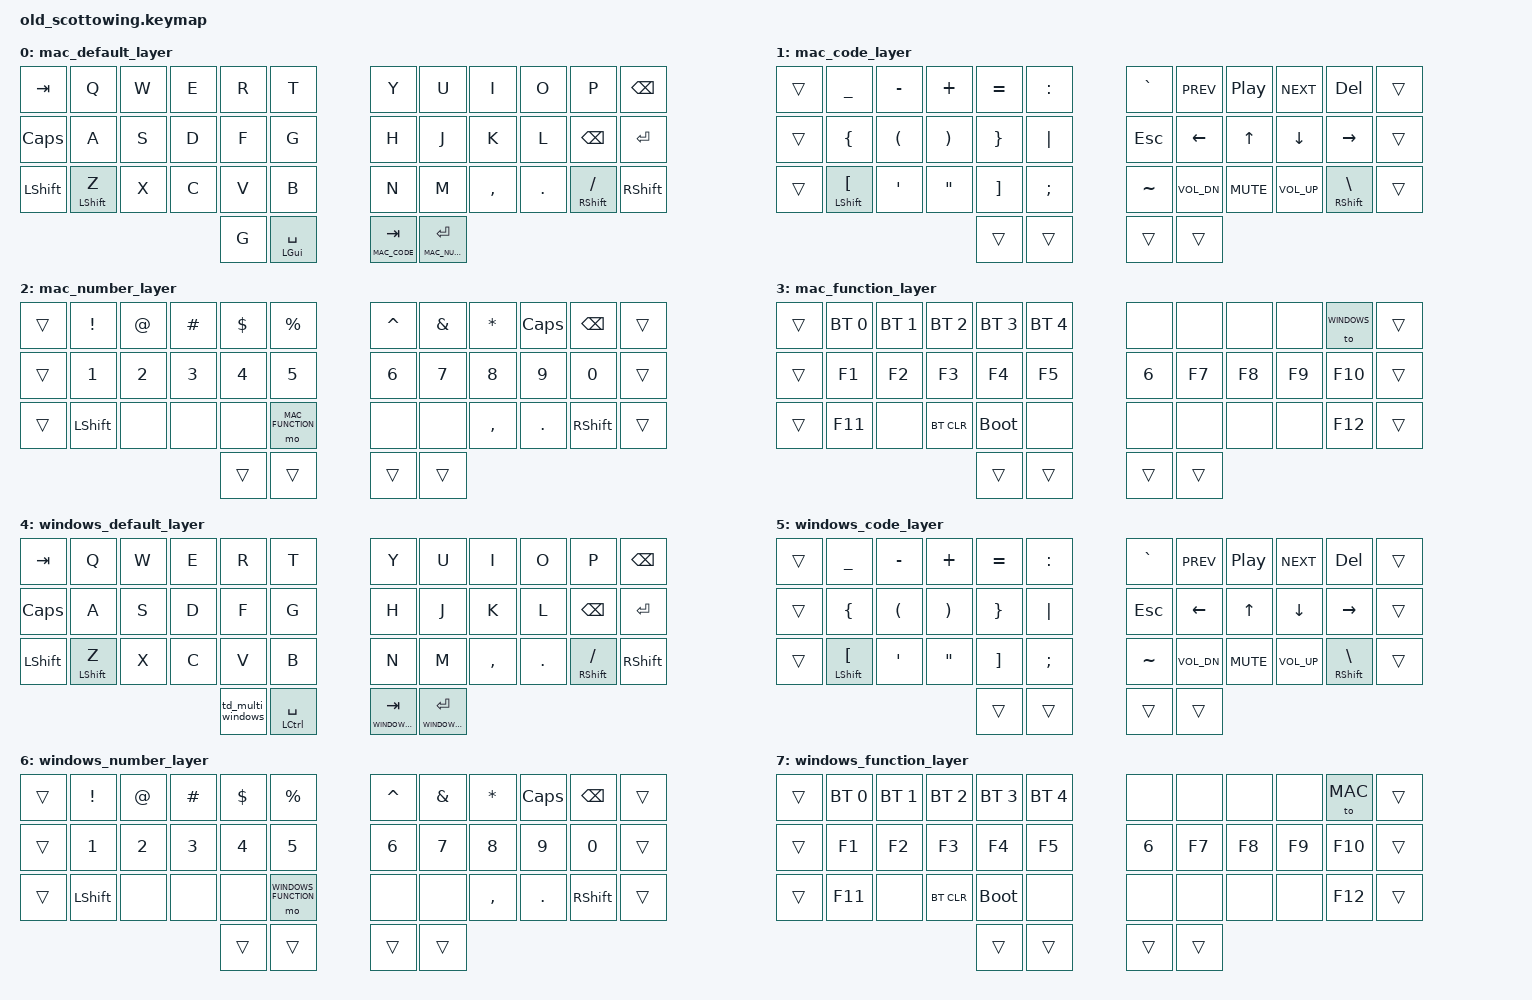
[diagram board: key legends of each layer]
#include <behaviors.dtsi>
#include <dt-bindings/zmk/keys.h>
#include <dt-bindings/zmk/bt.h>

#define MAC 0
#define MAC_CODE 1
#define MAC_NUMBER 2
#define MAC_FUNCTION 3
#define WINDOWS 4
#define WINDOWS_CODE 5
#define WINDOWS_NUMBER 6
#define WINDOWS_FUNCTION 7

    // Behavior Overrides
    &lt {
        tapping-term-ms = <200>;
        flavor = "hold-preferred";
    };

/ {
    //combos {
      //  compatible = "zmk,combos";
        
        //combo_tab {
        //  timeout-ms = <20>;
        //  key-positions = <1 2>;
        //  bindings = <&kp TAB>;
        //};

      //  combo_enter {
        //    timeout-ms = <20>;
          //  key-positions = <13 14>;
            //bindings = <&kp ENTER>;
        //};
    //};

    macros {
        spotlight: spotlight {
            label = "spotlight";
            compatible = "zmk,behavior-macro";
            #binding-cells = <0>;
            bindings = <&macro_press &kp LGUI>, <&macro_tap &kp SPACE>, <&macro_release &kp LGUI>; 
        };

        // Emoji
        mac_emoji: mac_emoji {
            label = "mac_emoji";
            compatible = "zmk,behavior-macro";
            #binding-cells = <0>;
            bindings = <&macro_press &kp LGUI>, <&macro_press &kp LCTRL>, <&macro_tap &kp SPACE>, <&macro_release &kp LCTRL>, <&macro_release &kp LGUI>; 
        };

        windows_emoji: windows_emoji {
            label = "windows_emoji";
            compatible = "zmk,behavior-macro";
            #binding-cells = <0>;
            bindings = <&macro_press &kp LGUI>, <&macro_tap &kp DOT>, <&macro_release &kp LGUI>; 
        };
    };

    behaviors {
        bm: bottom_row_mods {
            compatible = "zmk,behavior-hold-tap";
            label = "BOTTOM_ROW_MODS";
            #binding-cells = <2>;
            tapping-term-ms = <135>;
            quick-tap-ms = <0>;
            flavor = "tap-preferred";
            bindings = <&kp>, <&kp>;
        };

        cm: code_row_mods {
            compatible = "zmk,behavior-hold-tap";
            label = "CODE_ROW_MODS";
            #binding-cells = <2>;
            tapping-term-ms = <200>;
            quick-tap-ms = <0>;
            flavor = "tap-preferred";
            bindings = <&kp>, <&kp>;
            retro-tap;
        };

        sm: space_mod {
            compatible = "zmk,behavior-hold-tap";
            label = "SPACE_MOD";
            #binding-cells = <2>;
            flavor = "balanced";
            tapping-term-ms = <200>;
            quick-tap-ms = <125>;
            bindings = <&kp>, <&kp>;
        };

        td_multi_mac: tap_dance_multi_mac {
            compatible = "zmk,behavior-tap-dance";
            label = "TAP_DANCE_MULTI_MAC";
            #binding-cells = <0>;
            tapping-term-ms = <200>;
            bindings = <&sm ESC LALT>, <&spotlight>, <&kp LCTRL>, <&mac_emoji>;
        };

        td_multi_windows: tap_dance_multi_windows {
            compatible = "zmk,behavior-tap-dance";
            label = "TAP_DANCE_MULTI_WINDOWS";
            #binding-cells = <0>;
            tapping-term-ms = <200>;
            bindings = <&sm ESC LALT>, <&kp LGUI>, <&windows_emoji>;
        };
    };
    
    keymap {
        compatible = "zmk,keymap";

        mac_default_layer {
            bindings = <
                &kp TAB   &kp Q       &kp W &kp E &kp R         &kp T          &kp Y            &kp U             &kp I     &kp O   &kp P          &kp BSPC
                &kp CAPS  &kp A       &kp S &kp D &kp F         &kp G          &kp H            &kp J             &kp K     &kp L   &kp BSPC       &kp ENTER
                &kp LSHFT &bm LSHFT Z &kp X &kp C &kp V         &kp B          &kp N            &kp M             &kp COMMA &kp DOT &bm RSHFT FSLH &kp RSHFT
                                                  &kp G &sm LGUI SPACE &lt MAC_CODE TAB &lt MAC_NUMBER ENTER
            >;
        };

        mac_code_layer {
            bindings = <
                &trans &kp UNDER      &kp MINUS &kp PLUS &kp EQUAL &kp COLON &kp GRAVE &kp C_PREV   &kp C_PP   &kp C_NEXT   &kp DEL        &trans
                &trans &kp LBRC       &kp LPAR  &kp RPAR &kp RBRC  &kp PIPE  &kp ESC   &kp LEFT     &kp UP     &kp DOWN     &kp RIGHT      &trans
                &trans &cm LSHFT LBKT &kp APOS  &kp DQT  &kp RBKT  &kp SEMI  &kp TILDE &kp C_VOL_DN &kp C_MUTE &kp C_VOL_UP &cm RSHFT BSLH &trans
                                                         &trans    &trans    &trans    &trans
            >;
        };

        mac_number_layer {
            bindings = < 
                &trans &kp EXCL  &kp AT &kp HASH &kp DLLR &kp PRCNT        &kp CARET &kp AMPS &kp ASTERISK &kp CAPS &kp BSPC  &trans
                &trans &kp N1    &kp N2 &kp N3   &kp N4   &kp N5           &kp N6    &kp N7   &kp N8       &kp N9   &kp N0    &trans
                &trans &kp LSHFT &none  &none    &none    &mo MAC_FUNCTION &none     &none    &kp COMMA    &kp DOT  &kp RSHFT &trans
                                                 &trans   &trans           &trans    &trans
            >;
        };

        mac_function_layer {
            bindings =<
                &trans &bt BT_SEL 0 &bt BT_SEL 1 &bt BT_SEL 2 &bt BT_SEL 3 &bt BT_SEL 4  &none  &none  &none  &none  &to WINDOWS &trans
                &trans &kp F1       &kp F2       &kp F3       &kp F4       &kp F5        &kp 6  &kp F7 &kp F8 &kp F9 &kp F10     &trans
                &trans &kp F11      &none        &bt BT_CLR   &bootloader  &none         &none  &none  &none  &none  &kp F12     &trans
                                                              &trans       &trans        &trans &trans
            >;
        };

        windows_default_layer {
            bindings = <
                &kp TAB   &kp Q       &kp W &kp E &kp R             &kp T           &kp Y                &kp U                    &kp I     &kp O   &kp P          &kp BSPC
                &kp CAPS  &kp A       &kp S &kp D &kp F             &kp G           &kp H                &kp J                    &kp K     &kp L   &kp BSPC       &kp ENTER
                &kp LSHFT &bm LSHFT Z &kp X &kp C &kp V             &kp B           &kp N                &kp M                    &kp COMMA &kp DOT &bm RSHFT FSLH &kp RSHFT
                                                  &td_multi_windows &sm LCTRL SPACE &lt WINDOWS_CODE TAB &lt WINDOWS_NUMBER ENTER
            >;
        };

        windows_code_layer {
            bindings = <
                &trans &kp UNDER      &kp MINUS &kp PLUS &kp EQUAL &kp COLON &kp GRAVE &kp C_PREV   &kp C_PP   &kp C_NEXT   &kp DEL        &trans
                &trans &kp LBRC       &kp LPAR  &kp RPAR &kp RBRC  &kp PIPE  &kp ESC   &kp LEFT     &kp UP     &kp DOWN     &kp RIGHT      &trans
                &trans &cm LSHFT LBKT &kp APOS  &kp DQT  &kp RBKT  &kp SEMI  &kp TILDE &kp C_VOL_DN &kp C_MUTE &kp C_VOL_UP &cm RSHFT BSLH &trans
                                                         &trans    &trans    &trans    &trans
            >;
        };

        windows_number_layer {
            bindings = < 
                &trans &kp EXCL  &kp AT &kp HASH &kp DLLR &kp PRCNT            &kp CARET &kp AMPS &kp ASTERISK &kp CAPS &kp BSPC  &trans
                &trans &kp N1    &kp N2 &kp N3   &kp N4   &kp N5               &kp N6    &kp N7   &kp N8       &kp N9   &kp N0    &trans
                &trans &kp LSHFT &none  &none    &none    &mo WINDOWS_FUNCTION &none     &none    &kp COMMA    &kp DOT  &kp RSHFT &trans
                                                 &trans   &trans               &trans    &trans
            >;
        };

        windows_function_layer {
            bindings =<
                &trans &bt BT_SEL 0 &bt BT_SEL 1 &bt BT_SEL 2 &bt BT_SEL 3 &bt BT_SEL 4  &none  &none  &none  &none  &to MAC &trans
                &trans &kp F1       &kp F2       &kp F3       &kp F4       &kp F5        &kp 6  &kp F7 &kp F8 &kp F9 &kp F10 &trans
                &trans &kp F11      &none        &bt BT_CLR   &bootloader  &none         &none  &none  &none  &none  &kp F12 &trans
                                                              &trans       &trans        &trans &trans
            >;
        };
    };
};
